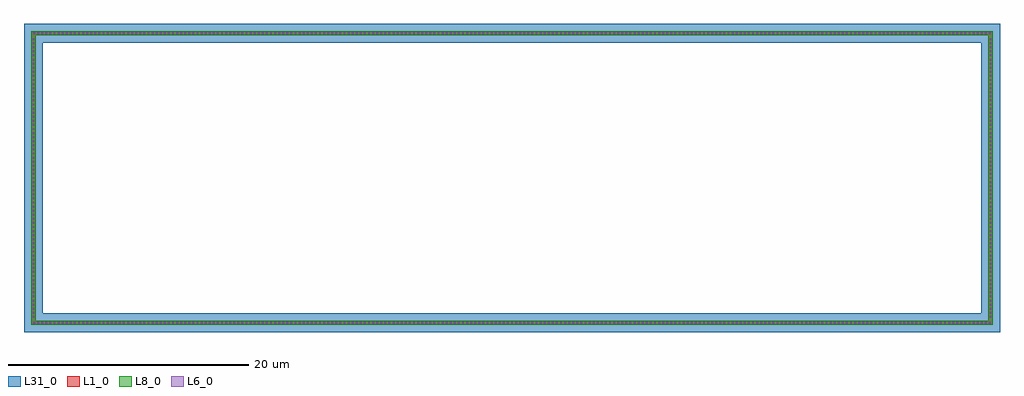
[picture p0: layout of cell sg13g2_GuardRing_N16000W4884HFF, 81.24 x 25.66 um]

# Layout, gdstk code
import gdstk
lib = gdstk.Library(unit=1e-6, precision=1e-09)
def R(c, l, rs):  # rectangles x0, y0, x1, y1
    for r in rs: c.add(gdstk.rectangle(r[:2], r[2:], *l))
def A(c, l, x, y, w, h, nx, ny, dx, dy):  # array of equal rectangles
    R(c, l, [(x+i*dx, y+j*dy, x+i*dx+w, y+j*dy+h) for i in range(nx) for j in range(ny)])
def P(c, l, *ps):  # polygons
    for p in ps: c.add(gdstk.Polygon(p, *l))
L1_0 = (1, 0)
L6_0 = (6, 0)
L8_0 = (8, 0)
L31_0 = (31, 0)

sg13g2_guardring_n16000w = lib.new_cell('sg13g2_GuardRing_N16000W4884HFF')
P(sg13g2_guardring_n16000w, L1_0, [(-40,-12.21),(-40,11.87),(-39.66,11.87),(-39.66,-11.87),(39.66,-11.87),(39.66,11.87),(-40,11.87),(-40,12.21),(40,12.21),(40,-12.21)])
A(sg13g2_guardring_n16000w, L6_0, -39.86, -12.12, 0.16, 0.16, 235, 2, 0.34, 24.08)
A(sg13g2_guardring_n16000w, L6_0, -39.91, -11.64, 0.16, 0.16, 1, 69, 0, 0.34)
A(sg13g2_guardring_n16000w, L6_0, 39.75, -11.64, 0.16, 0.16, 1, 69, 0, 0.34)
P(sg13g2_guardring_n16000w, L8_0, [(-40,-12.21),(-40,11.87),(-39.66,11.87),(-39.66,-11.87),(39.66,-11.87),(39.66,11.87),(-40,11.87),(-40,12.21),(40,12.21),(40,-12.21)])
P(sg13g2_guardring_n16000w, L31_0, [(-40.62,-12.83),(-40.62,11.25),(-39.04,11.25),(-39.04,-11.25),(39.04,-11.25),(39.04,11.25),(-40.62,11.25),(-40.62,12.83),(40.62,12.83),(40.62,-12.83)])

lib.write_gds('sg13g2_GuardRing_N16000W4884HFF.gds')
